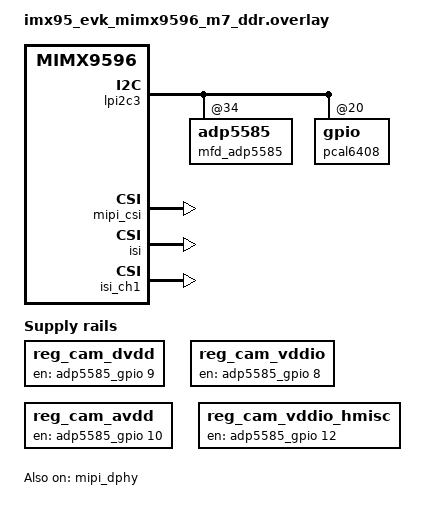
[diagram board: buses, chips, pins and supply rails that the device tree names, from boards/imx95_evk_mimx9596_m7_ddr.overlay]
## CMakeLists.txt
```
# SPDX-License-Identifier: Apache-2.0

cmake_minimum_required(VERSION 3.20.0)
find_package(Zephyr REQUIRED HINTS $ENV{ZEPHYR_BASE})
project(video_capture)

target_sources(app PRIVATE src/main.c)
```

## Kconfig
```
# Copyright (c) 2024 Espressif Systems (Shanghai) Co., Ltd.
# SPDX-License-Identifier: Apache-2.0

mainmenu "Video capture sample application"

menu "Video capture configuration"

config VIDEO_SOURCE_CROP_LEFT
	int "Crop area left value"
	default 0
	help
	   Left value of the crop area within the video source.

config VIDEO_SOURCE_CROP_TOP
	int "Crop area top value"
	default 0
	help
	   Top value of the crop area within the video source.

config VIDEO_SOURCE_CROP_WIDTH
	int "Crop area width value"
	default 0
	help
	   Width value of the crop area within the video source.
	   If set to 0, the crop is not applied.

config VIDEO_SOURCE_CROP_HEIGHT
	int "Crop area height value"
	default 0
	help
	   Height value of the crop area within the video source.
	   If set to 0, the crop is not applied.

config VIDEO_FRAME_HEIGHT
	int "Height of the video frame"
	default 0
	help
	  Height of the video frame. If set to 0, the default height is used.

config VIDEO_FRAME_WIDTH
	int "Width of the video frame"
	default 0
	help
	  Width of the video frame. If set to 0, the default width is used.

config VIDEO_PIXEL_FORMAT
	string "Pixel format of the video frame"
	help
	  Pixel format of the video frame. If not set, the default pixel format is used.

config VIDEO_CTRL_HFLIP
	bool "Mirror the video frame horizontally"
	help
	  If set, mirror the video frame horizontally

config VIDEO_CTRL_VFLIP
	bool "Mirror the video frame vertically"
	help
	  If set, mirror the video frame vertically

config VIDEO_SHELL_AND_CAPTURE
	bool "Capture video even if the video shell is enabled"
	depends on VIDEO_SHELL
	default n
	help
	  If set, the video capture is enabled even if the video shell is also enabled.

config VIDEO_CAM_NUM_BUFS
	int "Number of video buffers used for the camera"
	default 2
	help
	  Number of buffers in the video buffer pool used for the camera device.
	  The rest of the buffer pool will be used for other purposes such as transformation.

choice VIDEO_TRANSFORM
	prompt "Video transform implementation"
	bool
	help
	  The captured frame will go through m2m transforms defined in a separate .c file.
	  The implementation could include "transform.h" which provides helper functions
	  for setting up and executing the transformation.

config VIDEO_TRANSFORM_NXP_JPEGDEC
	bool "Use NXP JPEG decoder for video transform"
	depends on VIDEO_MCUX_JPEGDEC
	help
	  Use NXP JPEG decoder to decompress JPEG frames

config VIDEO_TRANSFORM_NXP_PNGDEC
	bool "Use NXP PNG decoder for video transform"
	depends on VIDEO_MCUX_PNGDEC
	help
	  Use NXP PNG decoder to decompress PNG frames

endchoice

if VIDEO_MCUX_JPEGDEC
rsource "boards/Kconfig.nxp_jpegdec"
endif

endmenu

source "Kconfig.zephyr"
```

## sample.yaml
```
sample:
  name: Video capture
tests:
  sample.drivers.video.capture:
    tags:
      - video
      - shield
      - samples
    extra_args:
      - platform:mimxrt1064_evk/mimxrt1064:SHIELD="dvp_fpc24_mt9m114;rk043fn66hs_ctg"
      - platform:mimxrt1170_evk/mimxrt1176/cm7:SHIELD="nxp_btb44_ov5640;rk055hdmipi4ma0"
      - platform:mimxrt1170_evk@B/mimxrt1176/cm7:SHIELD="nxp_btb44_ov5640;rk055hdmipi4ma0"
      - platform:frdm_mcxn947/mcxn947/cpu0:SHIELD="dvp_20pin_ov7670;lcd_par_s035_8080"
      - platform:frdm_mcxn236/mcxn236:SHIELD="dvp_20pin_ov7670;lcd_par_s035_8080"
      - platform:stm32h7b3i_dk:SHIELD="st_b_cams_omv_mb1683"
      - platform:ek_ra8d1/r7fa8d1bhecbd:SHIELD="dvp_20pin_ov7670;rtkmipilcdb00000be"
      - platform:mimxrt700_evk/mimxrt798s/cm33_cpu0:SHIELD="dvp_20pin_ov7670;rk055hdmipi4ma0"
    extra_configs:
      - CONFIG_FPU=y
    harness: console
    harness_config:
      fixture: fixture_camera
      type: multi_line
      ordered: true
      regex:
        - "Got frame \\d+"
        - "size: \\d+;"
        - "timestamp \\d+"
    platform_allow:
      - arduino_nicla_vision/stm32h747xx/m7
      - mimxrt1064_evk/mimxrt1064
      - mimxrt1170_evk/mimxrt1176/cm7
      - mimxrt1170_evk@B/mimxrt1176/cm7
      - frdm_mcxn947/mcxn947/cpu0
      - frdm_mcxn236/mcxn236
      - mm_swiftio
      - esp32s3_eye/esp32s3/procpu
      - stm32h7b3i_dk
      - ek_ra8d1/r7fa8d1bhecbd
      - mimxrt700_evk/mimxrt798s/cm33_cpu0
    depends_on: video
    integration_platforms:
      - mimxrt1064_evk/mimxrt1064
      - mimxrt1170_evk/mimxrt1176/cm7
  sample.drivers.video.capture.shell:
    tags:
      - video
      - samples
      - shell
    extra_configs:
      - CONFIG_VIDEO_SHELL=y
      - CONFIG_FPU=y
      - CONFIG_DISPLAY=n
    extra_args:
      - platform:native_sim/native/64:SNIPPET="video-sw-generator"
    harness: console
    harness_config:
      type: one_line
      regex:
        - "Letting the user control the device with the video shell"
    platform_allow:
      - native_sim/native/64
    integration_platforms:
      - native_sim/native/64
```

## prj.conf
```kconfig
CONFIG_VIDEO=y
CONFIG_SHELL=y
CONFIG_DEVICE_SHELL=y
CONFIG_PRINTK=y
CONFIG_LOG=y
CONFIG_DISPLAY=y
CONFIG_REQUIRES_FLOAT_PRINTF=y
CONFIG_LOG_MODE_DEFERRED=y
```

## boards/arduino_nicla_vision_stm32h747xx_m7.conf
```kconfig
CONFIG_VIDEO_BUFFER_POOL_HEAP_SIZE=320000
CONFIG_VIDEO_BUFFER_POOL_NUM_MAX=2
CONFIG_DMA=y

CONFIG_MAIN_STACK_SIZE=4096

CONFIG_SERIAL=y
CONFIG_CONSOLE=y
CONFIG_UART_CONSOLE=y
CONFIG_UART_LINE_CTRL=y
```

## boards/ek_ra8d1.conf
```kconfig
CONFIG_VIDEO_FRAME_WIDTH=320
CONFIG_VIDEO_FRAME_HEIGHT=240
CONFIG_VIDEO_BUFFER_POOL_SZ_MAX=155000
CONFIG_VIDEO_BUFFER_POOL_NUM_MAX=2
CONFIG_VIDEO_BUFFER_POOL_HEAP_SIZE=310000
```

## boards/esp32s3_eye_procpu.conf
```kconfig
CONFIG_VIDEO_BUFFER_POOL_SZ_MAX=115200
CONFIG_VIDEO_BUFFER_POOL_HEAP_SIZE=230400
CONFIG_VIDEO_BUFFER_POOL_NUM_MAX=2
CONFIG_ESP_SPIRAM=y
CONFIG_SPIRAM_MODE_OCT=y
CONFIG_VIDEO_BUFFER_POOL_ALIGN=32
CONFIG_DMA_ESP32_MAX_DESCRIPTOR_NUM=64
CONFIG_VIDEO_BUFFER_USE_SHARED_MULTI_HEAP=y
CONFIG_VIDEO_BUFFER_SMH_ATTRIBUTE=2
CONFIG_VIDEO_FRAME_HEIGHT=240
CONFIG_VIDEO_FRAME_WIDTH=240
CONFIG_VIDEO_PIXEL_FORMAT="RGBP"
CONFIG_VIDEO_CTRL_VFLIP=y
```

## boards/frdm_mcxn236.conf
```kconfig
CONFIG_VIDEO_BUFFER_POOL_HEAP_SIZE=80000
CONFIG_VIDEO_BUFFER_POOL_SZ_MAX=40000
CONFIG_VIDEO_FRAME_WIDTH=320
CONFIG_VIDEO_FRAME_HEIGHT=240
```

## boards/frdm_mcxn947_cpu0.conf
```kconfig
CONFIG_VIDEO_BUFFER_POOL_HEAP_SIZE=80000
CONFIG_VIDEO_BUFFER_POOL_NUM_MAX=2
```

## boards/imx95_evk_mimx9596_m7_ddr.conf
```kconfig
CONFIG_VIDEO_BUFFER_POOL_NUM_MAX=4
CONFIG_VIDEO_BUFFER_POOL_HEAP_SIZE=16000000
CONFIG_PM_DEVICE=y
CONFIG_VIDEO_CAM_NUM_BUFS=3
```

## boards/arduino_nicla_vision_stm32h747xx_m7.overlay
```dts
/*
 * Copyright 2024 Felipe Neves
 *
 * SPDX-License-Identifier: Apache-2.0
 */
/ {
	chosen {
		zephyr,console = &cdc_acm_uart0;
		zephyr,shell-uart = &cdc_acm_uart0;
	};
};

zephyr_udc0: &usbotg_hs {
	status = "okay";
	cdc_acm_uart0: cdc_acm_uart0 {
		compatible = "zephyr,cdc-acm-uart";
	};
};
```

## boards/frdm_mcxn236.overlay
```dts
/*
 * Copyright 2025 NXP
 *
 * SPDX-License-Identifier: Apache-2.0
 */

/ {
	chosen {
		/* Switch to flexcomm2_lpuart2(P4_2,P4_3), since default console
		 * pins are duplicated with camera header pins
		 */
		zephyr,console = &flexcomm2_lpuart2;
		zephyr,shell-uart = &flexcomm2_lpuart2;
	};
};
```

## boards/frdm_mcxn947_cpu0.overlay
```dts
/*
 * Copyright 2024 NXP
 *
 * SPDX-License-Identifier: Apache-2.0
 */

/{
	chosen {
		zephyr,camera = &video_sdma;
	};
};
```

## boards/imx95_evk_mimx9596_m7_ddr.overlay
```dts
/*
 * Copyright 2026 NXP
 * SPDX-License-Identifier: Apache-2.0
 */

#include <zephyr/dt-bindings/gpio/gpio.h>
#include <zephyr/dt-bindings/video/video-interfaces.h>

/ {
	chosen {
		/* Use ISI channel1 as capture device for this sample */
		zephyr,camera = &isi_ch1;
	};

	/* Camera power regulators (controlled via ADP5585 GPIO expander) */
	reg_cam_dvdd: regulator-cam-dvdd {
		compatible = "regulator-fixed";
		regulator-name = "CAM_DVDD_1V2";
		enable-gpios = <&adp5585_gpio 9 GPIO_ACTIVE_HIGH>;
		status = "okay";
	};

	reg_cam_vddio: regulator-cam-vddio {
		compatible = "regulator-fixed";
		regulator-name = "CAM_VDDIO_1V8";
		enable-gpios = <&adp5585_gpio 8 GPIO_ACTIVE_HIGH>;
		status = "okay";
	};

	reg_cam_avdd: regulator-cam-avdd {
		compatible = "regulator-fixed";
		regulator-name = "CAM_AVDD_2V8";
		enable-gpios = <&adp5585_gpio 10 GPIO_ACTIVE_HIGH>;
		status = "okay";
	};

	reg_cam_vddio_hmisc: regulator-cam-vddio-hmisc {
		compatible = "regulator-fixed";
		regulator-name = "CAM_VDDIO_HMISC_1V8";
		enable-gpios = <&adp5585_gpio 12 GPIO_ACTIVE_HIGH>;
		status = "okay";
	};
};

/*
 * Camera HW on i.MX95 EVK lives on LPI2C3.
 * The AP1302 device node itself is provided by the camera shield.
 */
&lpi2c3 {
	status = "okay";
	pinctrl-0 = <&lpi2c3_default>;
	pinctrl-names = "default";

	mfd_adp5585: adp5585@34 {
		status = "okay";

		adp5585_gpio: adp5585_gpio {
			status = "okay";
		};
	};

	pcal6408: gpio@20 {
		status = "okay";
	};
};

/* Apply board-specific wiring and resources to the shield-provided AP1302 */
&ap1302 {
	power-supplies = <&reg_cam_dvdd>,
			 <&reg_cam_vddio>,
			 <&reg_cam_avdd>,
			 <&reg_cam_vddio_hmisc>;
	clock-names = "mclk";
	clocks = <&scmi_clk IMX95_CLK_CCMCKO1>;
	pinctrl-0 = <&cmmclk1_default>;
	pinctrl-names = "default";
};

&mipi_dphy {
	status = "okay";
};

&mipi_csi {
	data-lanes = <4>;
	status = "okay";

	ports {
		#address-cells = <1>;
		#size-cells = <0>;

		port@0 {
			reg = <0>;
			csi_ep_in: endpoint {
				remote-endpoint-label = "ap1302_ep_out";
				bus-type = <VIDEO_BUS_TYPE_CSI2_DPHY>;
				data-lanes = <1 2 3 4>;
			};
		};

		port@1 {
			reg = <1>;
			csi2rx_ep_out: endpoint {
				remote-endpoint-label = "isi_1_ep_in";
			};
		};
	};
};

&isi {
	status = "okay";
};

&isi_ch1 {
	status = "okay";

	ports {
		#address-cells = <1>;
		#size-cells = <0>;

		port@0 {
			reg = <0>;
			isi_1_ep_in: endpoint {
				remote-endpoint-label = "csi2rx_ep_out";
			};
		};
	};
};
```

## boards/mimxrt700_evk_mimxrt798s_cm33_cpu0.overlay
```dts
/*
 * Copyright 2026 NXP
 *
 * SPDX-License-Identifier: Apache-2.0
 *
 */

/ {
	chosen {
		zephyr,videodec = &pngdec;
	};
};
```

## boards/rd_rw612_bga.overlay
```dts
/*
 * Copyright 2025 NXP
 *
 * SPDX-License-Identifier: Apache-2.0
 */

/ {
	uvc_host: uvc_host {
		compatible = "zephyr,uvc-host";
	};
};
```

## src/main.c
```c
/*
 * Copyright (c) 2019 Linaro Limited
 * Copyright 2025-2026 NXP
 *
 * SPDX-License-Identifier: Apache-2.0
 */

#include <zephyr/kernel.h>
#include <zephyr/device.h>

#include <zephyr/drivers/display.h>
#include <zephyr/drivers/video.h>
#include <zephyr/drivers/video-controls.h>

#include <zephyr/logging/log.h>
LOG_MODULE_REGISTER(main, CONFIG_LOG_DEFAULT_LEVEL);

/*
 * Include transform.h unconditionally to ensure it's compiled and checked by CI,
 * even though the functions in this header are not used here at all.
 * This prevents silent breakage when APIs change.
 */
#include "transform.h"

#if !DT_HAS_CHOSEN(zephyr_camera)
#error No camera chosen in devicetree. Missing "--shield" or "--snippet video-sw-generator" flag?
#endif

/* The default transform implementation is a pass-through when no transform device is available */
int __weak app_setup_video_transform(const struct device *const transform_dev,
				     struct video_format *const in_fmt,
				     struct video_format *const out_fmt,
				     struct video_buffer **out_buf)
{
	*out_fmt = *in_fmt;

	return 0;
}

int __weak app_transform_frame(const struct device *const transform_dev,
			       struct video_buffer *in_buf, struct video_buffer **out_buf)
{
	*out_buf = in_buf;

	return 0;
}

static inline int app_setup_display(const struct device *const display_dev, const uint32_t pixfmt)
{
	struct display_capabilities capabilities;
	int ret = 0;

	LOG_INF("Display device: %s", display_dev->name);

	if (!device_is_ready(display_dev)) {
		LOG_ERR("%s: display device not ready.", display_dev->name);
		return -ENOSYS;
	}

	display_get_capabilities(display_dev, &capabilities);

	LOG_INF("- Capabilities:");
	LOG_INF("  x_resolution = %u, y_resolution = %u, supported_pixel_formats = %u"
		"  current_pixel_format = %u, current_orientation = %u",
		capabilities.x_resolution, capabilities.y_resolution,
		capabilities.supported_pixel_formats, capabilities.current_pixel_format,
		capabilities.current_orientation);

	/* Set display pixel format to match the one in use by the camera */
	switch (pixfmt) {
	case VIDEO_PIX_FMT_RGB565:
		if (capabilities.current_pixel_format != PIXEL_FORMAT_RGB_565) {
			ret = display_set_pixel_format(display_dev, PIXEL_FORMAT_RGB_565);
		}
		break;
	case VIDEO_PIX_FMT_BGRX32:
		if (capabilities.current_pixel_format != PIXEL_FORMAT_XRGB_8888) {
			ret = display_set_pixel_format(display_dev, PIXEL_FORMAT_XRGB_8888);
			if (ret < 0) {
				/* If failed with PIXEL_FORMAT_XRGB_8888, PIXEL_FORMAT_ARGB_8888 is
				 * still applicable
				 */
				ret = display_set_pixel_format(display_dev, PIXEL_FORMAT_ARGB_8888);
			}
		}
		break;
	case VIDEO_PIX_FMT_RGBA32:
		if (capabilities.current_pixel_format != PIXEL_FORMAT_ABGR_8888) {
			ret = display_set_pixel_format(display_dev, PIXEL_FORMAT_ABGR_8888);
		}
		break;
	default:
		LOG_ERR("Display pixel format not supported by this sample");
		return -ENOTSUP;
	}
	if (ret < 0) {
		LOG_ERR("Unable to set display format");
		return ret;
	}

	/* Turn off blanking if driver supports it */
	ret = display_blanking_off(display_dev);
	if (ret == -ENOSYS) {
		LOG_DBG("Display blanking off not available");
		ret = 0;
	}

	return ret;
}

static int app_display_frame(const struct device *const display_dev,
			     const struct video_buffer *const vbuf,
			     const struct video_format *const fmt)
{
	struct display_buffer_descriptor buf_desc = {
		.buf_size = vbuf->bytesused,
		.width = fmt->width,
		.pitch = buf_desc.width,
		.height = vbuf->bytesused / fmt->pitch,
	};

	return display_write(display_dev, 0, vbuf->line_offset, &buf_desc, vbuf->buffer);
}

static int app_setup_video_selection(const struct device *const camera_dev,
				     const struct video_format *const fmt)
{
	struct video_selection sel = {
		.type = VIDEO_BUF_TYPE_OUTPUT,
	};
	int ret;

	/* Set the crop setting only if configured */
	if (CONFIG_VIDEO_SOURCE_CROP_WIDTH > 0) {
		sel.target = VIDEO_SEL_TGT_CROP;
		sel.rect.left = CONFIG_VIDEO_SOURCE_CROP_LEFT;
		sel.rect.top = CONFIG_VIDEO_SOURCE_CROP_TOP;
		sel.rect.width = CONFIG_VIDEO_SOURCE_CROP_WIDTH;
		sel.rect.height = CONFIG_VIDEO_SOURCE_CROP_HEIGHT;

		ret = video_set_selection(camera_dev, &sel);
		if (ret < 0) {
			LOG_ERR("Unable to set selection crop");
			return ret;
		}

		LOG_INF("Crop window set to (%u,%u)/%ux%u",
			sel.rect.left, sel.rect.top, sel.rect.width, sel.rect.height);
	}

	return 0;
}

static int app_query_video_info(const struct device *const camera_dev,
				struct video_caps *const caps,
				struct video_format *const fmt)
{
	int ret;

	LOG_INF("Camera device: %s", camera_dev->name);

	if (!device_is_ready(camera_dev)) {
		LOG_ERR("%s: camera device is not ready", camera_dev->name);
		return -ENOSYS;
	}

	/* Get capabilities */
	ret = video_get_caps(camera_dev, caps);
	if (ret < 0) {
		LOG_ERR("Unable to retrieve video capabilities");
		return ret;
	}

	LOG_INF("- Capabilities:");
	for (int i = 0; caps->format_caps[i].pixelformat; i++) {
		const struct video_format_cap *fcap = &caps->format_caps[i];

		LOG_INF("  %s width [%u; %u; %u] height [%u; %u; %u]",
			VIDEO_FOURCC_TO_STR(fcap->pixelformat),
			fcap->width_min, fcap->width_max, fcap->width_step,
			fcap->height_min, fcap->height_max, fcap->height_step);
	}

	/* Get default/native format */
	ret = video_get_format(camera_dev, fmt);
	if (ret < 0) {
		LOG_ERR("Unable to retrieve video format");
	}

	/* Adjust video format according to the configuration */
	if (CONFIG_VIDEO_FRAME_HEIGHT > 0) {
		fmt->height = CONFIG_VIDEO_FRAME_HEIGHT;
	}
	if (CONFIG_VIDEO_FRAME_WIDTH > 0) {
		fmt->width = CONFIG_VIDEO_FRAME_WIDTH;
	}
	if (strcmp(CONFIG_VIDEO_PIXEL_FORMAT, "") != 0) {
		fmt->pixelformat = VIDEO_FOURCC_FROM_STR(CONFIG_VIDEO_PIXEL_FORMAT);
	}

	return 0;
}

static int app_setup_video_format(const struct device *const camera_dev,
				  struct video_format *const fmt)
{
	int ret;

	LOG_INF("- Video format: %s %ux%u",
		VIDEO_FOURCC_TO_STR(fmt->pixelformat), fmt->width, fmt->height);

	ret = video_set_compose_format(camera_dev, fmt);
	if (ret < 0) {
		LOG_ERR("Unable to set format");
		return ret;
	}

	return 0;
}

static int app_setup_video_frmival(const struct device *const camera_dev,
				   struct video_format *const fmt)
{
	struct video_frmival frmival = {};
	struct video_frmival_enum fie = {
		.format = fmt,
	};
	int ret;

	LOG_INF("- Supported frame intervals for the default format:");

	while (video_enum_frmival(camera_dev, &fie) == 0) {
		if (fie.type == VIDEO_FRMIVAL_TYPE_DISCRETE) {
			LOG_INF("   %u/%u", fie.discrete.numerator, fie.discrete.denominator);
		} else {
			LOG_INF("   [min = %u/%u; max = %u/%u; step = %u/%u]",
				fie.stepwise.min.numerator, fie.stepwise.min.denominator,
				fie.stepwise.max.numerator, fie.stepwise.max.denominator,
				fie.stepwise.step.numerator, fie.stepwise.step.denominator);
		}
		fie.index++;
	}

	ret = video_get_frmival(camera_dev, &frmival);
	if (ret == -ENOTSUP || ret == -ENOSYS) {
		LOG_WRN("The video source does not support frame rate control");
	} else if (ret < 0) {
		LOG_ERR("Error while getting the frame interval");
		return ret;
	} else if (ret == 0) {
		LOG_INF("- Default frame rate : %f fps",
			1.0 * frmival.denominator / frmival.numerator);
	}

	return 0;
}

static int app_setup_video_controls(const struct device *const camera_dev)
{
	int ret;

	/* Get supported controls */
	LOG_INF("- Supported controls:");
	const struct device *last_dev = NULL;
	struct video_ctrl_query cq = {.dev = camera_dev, .id = VIDEO_CTRL_FLAG_NEXT_CTRL};

	while (video_query_ctrl(&cq) == 0) {
		if (cq.dev != last_dev) {
			last_dev = cq.dev;
			LOG_INF("\t\tdevice: %s", cq.dev->name);
		}
		video_print_ctrl(&cq);
		cq.id |= VIDEO_CTRL_FLAG_NEXT_CTRL;
	}

	/* Set controls */
	struct video_control ctrl = {.id = VIDEO_CID_HFLIP, .val = 1};

	if (IS_ENABLED(CONFIG_VIDEO_CTRL_HFLIP)) {
		ret = video_set_ctrl(camera_dev, &ctrl);
		if (ret < 0) {
			LOG_ERR("Failed to set horizontal flip");
			return ret;
		}
	}

	if (IS_ENABLED(CONFIG_VIDEO_CTRL_VFLIP)) {
		ctrl.id = VIDEO_CID_VFLIP;
		ret = video_set_ctrl(camera_dev, &ctrl);
		if (ret < 0) {
			LOG_ERR("Failed to set vertical flip");
			return ret;
		}
	}

	if (IS_ENABLED(CONFIG_TEST)) {
		ctrl.id = VIDEO_CID_TEST_PATTERN;
		ret = video_set_ctrl(camera_dev, &ctrl);
		if (ret < 0 && ret != -ENOTSUP) {
			LOG_WRN("Failed to set the test pattern");
		}
	}

	return 0;
}

static int app_setup_video_buffers(const struct device *const camera_dev,
				   struct video_caps *const caps,
				   struct video_format *const fmt)
{
	int ret;

	/* Alloc video buffers and enqueue for capture */
	if (caps->min_vbuf_count > CONFIG_VIDEO_CAM_NUM_BUFS) {
		LOG_ERR("Not enough buffers to start streaming");
		return -EINVAL;
	}

	for (uint8_t i = 0; i < CONFIG_VIDEO_CAM_NUM_BUFS; i++) {
		struct video_buffer *vbuf;

		/*
		 * For some hardwares, such as the PxP used on i.MX RT1170 to do image rotation,
		 * buffer alignment is needed in order to achieve the best performance
		 */
		vbuf = video_buffer_aligned_alloc(fmt->size, CONFIG_VIDEO_BUFFER_POOL_ALIGN,
						  K_NO_WAIT);
		if (vbuf == NULL) {
			LOG_ERR("Unable to alloc video buffer");
			return -ENOMEM;
		}

		vbuf->type = VIDEO_BUF_TYPE_OUTPUT;

		ret = video_enqueue(camera_dev, vbuf);
		if (ret < 0) {
			LOG_ERR("Failed to enqueue video buffer");
			return ret;
		}
	}

	return 0;
}

int main(void)
{
	const struct device *const camera_dev = DEVICE_DT_GET(DT_CHOSEN(zephyr_camera));
	const struct device *const display_dev = DEVICE_DT_GET_OR_NULL(DT_CHOSEN(zephyr_display));
	const struct device *transform_dev = NULL;
	struct video_buffer *camera_vbuf = &(struct video_buffer){};
	struct video_buffer *transformed_vbuf = &(struct video_buffer){};
	struct video_format camera_fmt = {
		.type = VIDEO_BUF_TYPE_OUTPUT,
	};
	struct video_format transformed_fmt = {
		.type = VIDEO_BUF_TYPE_OUTPUT,
	};
	struct video_caps caps = {
		.type = VIDEO_BUF_TYPE_OUTPUT,
	};
	unsigned int frame = 0;
	uint32_t last_ts = 0;
	int ret;

	/* When the video shell is enabled, do not run the capture loop unless requested */
	if (IS_ENABLED(CONFIG_VIDEO_SHELL) && !IS_ENABLED(CONFIG_VIDEO_SHELL_AND_CAPTURE)) {
		LOG_INF("Letting the user control the device with the video shell");
		return 0;
	}

	transform_dev = DEVICE_DT_GET_OR_NULL(DT_CHOSEN(zephyr_videotrans));
	if (transform_dev == NULL) {
		transform_dev = DEVICE_DT_GET_OR_NULL(DT_CHOSEN(zephyr_videodec));
	}

	ret = app_query_video_info(camera_dev, &caps, &camera_fmt);
	if (ret < 0) {
		goto err;
	}

	ret = app_setup_video_selection(camera_dev, &camera_fmt);
	if (ret < 0) {
		goto err;
	}

	ret = app_setup_video_format(camera_dev, &camera_fmt);
	if (ret < 0) {
		goto err;
	}

	ret = app_setup_video_frmival(camera_dev, &camera_fmt);
	if (ret < 0) {
		goto err;
	}

	ret = app_setup_video_controls(camera_dev);
	if (ret < 0) {
		goto err;
	}

	ret = app_setup_video_transform(transform_dev, &camera_fmt, &transformed_fmt,
					&transformed_vbuf);
	if (ret < 0) {
		LOG_ERR("Unable to setup video transform");
		goto err;
	}

	if (DT_HAS_CHOSEN(zephyr_display)) {
		ret = app_setup_display(display_dev, transformed_fmt.pixelformat);
		if (ret < 0) {
			goto err;
		}
	}

	ret = app_setup_video_buffers(camera_dev, &caps, &camera_fmt);
	if (ret < 0) {
		goto err;
	}

	ret = video_stream_start(camera_dev, VIDEO_BUF_TYPE_OUTPUT);
	if (ret < 0) {
		LOG_ERR("Unable to start capture (interface)");
		goto err;
	}

	LOG_INF("Capture started");

	camera_vbuf->type = VIDEO_BUF_TYPE_OUTPUT;
	while (1) {
		ret = video_dequeue(camera_dev, &camera_vbuf, K_FOREVER);
		if (ret < 0) {
			LOG_ERR("Unable to dequeue video buf");
			goto err;
		}

		LOG_INF("Got frame %u! size: %u; timestamp %u ms (delta %u ms)", frame++,
			camera_vbuf->bytesused, camera_vbuf->timestamp,
			camera_vbuf->timestamp - last_ts);
		last_ts = camera_vbuf->timestamp;

		ret = app_transform_frame(transform_dev, camera_vbuf, &transformed_vbuf);
		if (ret < 0) {
			LOG_ERR("Unable to transform video frame");
			goto err;
		}

		if (DT_HAS_CHOSEN(zephyr_display)) {
			ret = app_display_frame(display_dev, transformed_vbuf, &transformed_fmt);
			if (ret != 0) {
				LOG_WRN("Failed to display this frame");
			}
		}

		ret = video_enqueue(camera_dev, camera_vbuf);
		if (ret < 0) {
			LOG_ERR("Unable to requeue video buf");
			goto err;
		}
	}

err:
	LOG_ERR("Aborting sample");
	return 0;
}
```

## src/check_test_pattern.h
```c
/*
 * Copyright 2024 NXP
 *
 * SPDX-License-Identifier: Apache-2.0
 */

#ifndef TEST_PATTERN_CHECK_H_
#define TEST_PATTERN_CHECK_H_

#include <math.h>

#include <zephyr/drivers/video.h>

#define LAB_THRESHOLD 10.0

#define BARS_NUM   8
#define PIXELS_NUM 5

typedef struct {
	double L;
	double a;
	double b;
} CIELAB;

/*
 * This is measured on a real 8-colorbar pattern generated by an ov5640 camera sensor.
 * For other sensors, it can be slightly different. If it doesn't fit anymore, either
 * this array or the LAB_THRESHOLD can be modified.
 *
 * {White, Yellow, Cyan, Green, Magenta, Red, Blue, Black}
 */
static const CIELAB colorbars_target[] = {
	{100.0, 0.0053, -0.0104},     {97.1804, -21.2151, 91.3538}, {90.1352, -58.4675, 6.0570},
	{87.7630, -85.9469, 83.2128}, {56.6641, 95.0182, -66.9129}, {46.6937, 72.7494, 49.5801},
	{27.6487, 71.5662, -97.4712}, {1.3726, -2.8040, 2.0043}};

static inline CIELAB rgb888_to_lab(const uint8_t r, const uint8_t g, const uint8_t b)
{
	CIELAB lab;

	double r_lin = r / 255.0;
	double g_lin = g / 255.0;
	double b_lin = b / 255.0;

	r_lin = r_lin > 0.04045 ? pow((r_lin + 0.055) / 1.055, 2.4) : r_lin / 12.92;
	g_lin = g_lin > 0.04045 ? pow((g_lin + 0.055) / 1.055, 2.4) : g_lin / 12.92;
	b_lin = b_lin > 0.04045 ? pow((b_lin + 0.055) / 1.055, 2.4) : b_lin / 12.92;

	double x = r_lin * 0.4124 + g_lin * 0.3576 + b_lin * 0.1805;
	double y = r_lin * 0.2126 + g_lin * 0.7152 + b_lin * 0.0722;
	double z = r_lin * 0.0193 + g_lin * 0.1192 + b_lin * 0.9505;

	x /= 0.95047;
	z /= 1.08883;

	x = x > 0.008856 ? pow(x, 1.0 / 3.0) : (7.787 * x) + (16.0 / 116.0);
	y = y > 0.008856 ? pow(y, 1.0 / 3.0) : (7.787 * y) + (16.0 / 116.0);
	z = z > 0.008856 ? pow(z, 1.0 / 3.0) : (7.787 * z) + (16.0 / 116.0);

	lab.L = 116.0 * y - 16.0;
	lab.a = 500.0 * (x - y);
	lab.b = 200.0 * (y - z);

	return lab;
}

static inline CIELAB xrgb32_to_lab(const uint32_t color)
{
	uint8_t r = (color >> 16) & 0xFF;
	uint8_t g = (color >> 8) & 0xFF;
	uint8_t b = color & 0xFF;

	return rgb888_to_lab(r, g, b);
}

static inline CIELAB rgb565_to_lab(const uint16_t color)
{
	uint8_t r5 = (color >> 11) & 0x1F;
	uint8_t g6 = (color >> 5) & 0x3F;
	uint8_t b5 = color & 0x1F;

	/* Convert RGB565 to RGB888 */
	uint8_t r = (r5 * 255) / 31;
	uint8_t g = (g6 * 255) / 63;
	uint8_t b = (b5 * 255) / 31;

	return rgb888_to_lab(r, g, b);
}

static inline void sum_lab(CIELAB *sum, const CIELAB lab)
{
	sum->L += lab.L;
	sum->a += lab.a;
	sum->b += lab.b;
}

static inline void average_lab(CIELAB *lab, const uint32_t count)
{
	if (count > 0) {
		lab->L /= count;
		lab->a /= count;
		lab->b /= count;
	}
}

static inline double deltaE(const CIELAB lab1, const CIELAB lab2)
{
	return sqrt(pow(lab1.L - lab2.L, 2) + pow(lab1.a - lab2.a, 2) + pow(lab1.b - lab2.b, 2));
}

/*
 * As color values may vary near the boundary of each bar and also, for computational
 * efficiency, check only a small number of pixels (PIXELS_NUM) in the middle of each bar.
 */
static inline bool is_colorbar_ok(const uint8_t *const buf, const struct video_format fmt)
{
	int i;
	int bw = fmt.width / BARS_NUM;
	CIELAB colorbars[BARS_NUM] = {0};

	for (int h = 0; h < fmt.height; h++) {
		for (i = 0; i < BARS_NUM; i++) {
			if (fmt.pixelformat == VIDEO_PIX_FMT_XRGB32) {
				uint32_t *pixel =
					(uint32_t *)&buf[4 * (h * fmt.width + bw / 2 + i * bw)];

				for (int j = -PIXELS_NUM / 2; j <= PIXELS_NUM / 2; j++) {
					sum_lab(&colorbars[i], xrgb32_to_lab(*(pixel + j)));
				}
			} else if (fmt.pixelformat == VIDEO_PIX_FMT_RGB565) {
				uint16_t *pixel =
					(uint16_t *)&buf[2 * (h * fmt.width + bw / 2 + i * bw)];

				for (int j = -PIXELS_NUM / 2; j <= PIXELS_NUM / 2; j++) {
					sum_lab(&colorbars[i], rgb565_to_lab(*(pixel + j)));
				}
			} else {
				printk("Format %d is not supported", fmt.pixelformat);
				return false;
			}
		}
	}

	for (i = 0; i < BARS_NUM; i++) {
		average_lab(&colorbars[i], PIXELS_NUM * fmt.height);
		if (deltaE(colorbars[i], colorbars_target[i]) > LAB_THRESHOLD) {
			return false;
		}
	}

	return true;
}

#endif /* TEST_PATTERN_CHECK_H_ */
```

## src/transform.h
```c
/*
 * Copyright 2026 NXP
 *
 * SPDX-License-Identifier: Apache-2.0
 */

#include <zephyr/device.h>
#include <zephyr/drivers/video.h>
#include <zephyr/logging/log.h>

static inline int setup_video_transform(const struct device *const transform_dev,
					struct video_format *const in_fmt,
					struct video_format *const out_fmt,
					struct video_buffer **out_buf)
{
	int ret;

	/* Set input and output formats */
	in_fmt->type = VIDEO_BUF_TYPE_INPUT;
	ret = video_set_format(transform_dev, in_fmt);
	if (ret < 0) {
		LOG_ERROR("Unable to set input format");
		return ret;
	}

	ret = video_set_format(transform_dev, out_fmt);
	if (ret < 0) {
		LOG_ERROR("Unable to set output format");
		return ret;
	}

	/* Allocate a buffer for output queue */
	*out_buf = video_buffer_aligned_alloc(out_fmt->size,
					      CONFIG_VIDEO_BUFFER_POOL_ALIGN, K_NO_WAIT);
	if (*out_buf == NULL) {
		LOG_ERROR("Unable to allocate output video buffer");
		return -ENOMEM;
	}

	return 0;
}

static inline int transform_frame(const struct device *const transform_dev,
				  struct video_buffer *in_buf, struct video_buffer **out_buf)
{
	int ret;
	/* Store the input buffer type to recover later */
	enum video_buf_type in_buf_type = in_buf->type;
	static bool started;

	in_buf->type = VIDEO_BUF_TYPE_INPUT;
	ret = video_enqueue(transform_dev, in_buf);
	if (ret < 0) {
		LOG_ERROR("Unable to enqueue input buffer");
		return ret;
	}

	(*out_buf)->type = VIDEO_BUF_TYPE_OUTPUT;
	ret = video_enqueue(transform_dev, *out_buf);
	if (ret < 0) {
		LOG_ERROR("Unable to enqueue output buffer");
		return ret;
	}

	if (!started) {
		ret = video_stream_start(transform_dev, VIDEO_BUF_TYPE_INPUT);
		if (ret < 0) {
			LOG_ERROR("Unable to start the transform input");
			return ret;
		}

		ret = video_stream_start(transform_dev, VIDEO_BUF_TYPE_OUTPUT);
		if (ret < 0) {
			LOG_ERROR("Unable to start the transform output");
			return ret;
		}

		started = true;
	}

	ret = video_dequeue(transform_dev, &in_buf, K_FOREVER);
	if (ret < 0) {
		LOG_ERROR("Unable to dequeue input buffer");
		return ret;
	}

	ret = video_dequeue(transform_dev, out_buf, K_FOREVER);
	if (ret < 0) {
		LOG_ERROR("Unable to dequeue output buffer");
		return ret;
	}

	/* Keep the input buffer intact */
	in_buf->type = in_buf_type;

	return 0;
}
```

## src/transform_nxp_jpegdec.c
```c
/*
 * Copyright 2026 NXP
 *
 * SPDX-License-Identifier: Apache-2.0
 */

#include <zephyr/kernel.h>
#include <zephyr/device.h>
#include <zephyr/drivers/video.h>
#include <zephyr/logging/log.h>

LOG_MODULE_REGISTER(transform_nxp_jpegdec, CONFIG_LOG_DEFAULT_LEVEL);

#include "transform.h"

#ifdef CONFIG_VIDEO_NXP_JPEGDEC_CSC
static void convert_yuv420_to_rgb565(uint16_t width, uint16_t height, uint32_t yAddr,
				     uint32_t uvAddr, uint32_t rgbAddr)
{
	uint16_t *rgb = (void *)rgbAddr;
	int16_t r, g, b;
	uint8_t R, G, B, y, u, v;

	uint16_t i, j;

	for (i = 0U; i < height; i++) {
		for (j = 0U; j < width; j++) {
			y = *(((uint8_t *)yAddr) + width * i + j);
			u = *(((uint8_t *)uvAddr) + width * (i / 2) + j - (j % 2));
			v = *(((uint8_t *)uvAddr) + width * (i / 2) + j + 1 - (j % 2));
			r = y + 1402 * (v - 128) / 1000;
			g = y - (344 * (u - 128) + 714 * (v - 128)) / 1000;
			b = y + 1772 * (u - 128) / 1000;
			R = CLAMP(r, 0, 255);
			G = CLAMP(g, 0, 255);
			B = CLAMP(b, 0, 255);
			*rgb++ = (uint16_t)((((uint16_t)R & 0xF8) << 8U) |
					    (((uint16_t)G & 0xFC) << 3U) |
					    (((uint16_t)B & 0xF8) >> 3U));
		}
	}
}
#endif

int app_setup_video_transform(const struct device *const transform_dev,
	struct video_format *const in_fmt,
	struct video_format *const out_fmt,
	struct video_buffer **out_buf)
{
	out_fmt->pixelformat = VIDEO_PIX_FMT_NV12; /* Decoder output format shall be NV12 */
	out_fmt->width = CONFIG_VIDEO_FRAME_WIDTH;
	out_fmt->height = CONFIG_VIDEO_FRAME_HEIGHT;
	out_fmt->pitch = out_fmt->width;
	out_fmt->size = out_fmt->width * out_fmt->height * 2U;

	int ret = setup_video_transform(transform_dev, in_fmt, out_fmt, out_buf);

#ifdef CONFIG_VIDEO_NXP_JPEGDEC_CSC
	if (ret < 0) {
		return ret;
	}

	/* The transfromed format shall be RGB565 for display panel to show. */
	out_fmt->pixelformat = VIDEO_PIX_FMT_RGB565;
	out_fmt->pitch = out_fmt->width * 2U;

	return 0;
#else
	return ret;
#endif
}

int app_transform_frame(const struct device *const transform_dev, struct video_buffer *in_buf,
			struct video_buffer **out_buf)
{
	int ret = transform_frame(transform_dev, in_buf, out_buf);

#ifdef CONFIG_VIDEO_NXP_JPEGDEC_CSC
	if (ret < 0) {
		return ret;
	}

	/* Change the decoded NV12 2-p pixel to RGB565 for display to show. */
	uint8_t *rgb565 = k_aligned_alloc(CONFIG_VIDEO_BUFFER_POOL_ALIGN, (*out_buf)->bytesused);

	convert_yuv420_to_rgb565(CONFIG_VIDEO_FRAME_WIDTH, CONFIG_VIDEO_FRAME_HEIGHT,
				 (uint32_t)(*out_buf)->buffer,
				 (uint32_t)((*out_buf)->buffer +
					    CONFIG_VIDEO_FRAME_WIDTH * CONFIG_VIDEO_FRAME_HEIGHT),
				 (uint32_t)rgb565);

	memcpy((*out_buf)->buffer, rgb565,
	       CONFIG_VIDEO_FRAME_WIDTH * CONFIG_VIDEO_FRAME_HEIGHT * 2U);

	return 0;
#else
	return ret;
#endif
}
```

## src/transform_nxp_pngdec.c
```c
/*
 * Copyright 2026 NXP
 *
 * SPDX-License-Identifier: Apache-2.0
 */

#include <zephyr/kernel.h>
#include <zephyr/device.h>
#include <zephyr/drivers/video.h>
#include <zephyr/logging/log.h>

LOG_MODULE_REGISTER(transform_nxp_pngdec, CONFIG_LOG_DEFAULT_LEVEL);

#include "transform.h"
int app_setup_video_transform(const struct device *const transform_dev,
	struct video_format *const in_fmt,
	struct video_format *const out_fmt,
	struct video_buffer **out_buf)
{
	out_fmt->pixelformat = VIDEO_PIX_FMT_ABGR32; /* Decoder output format shall be ABGR8888 */
	out_fmt->width = CONFIG_VIDEO_FRAME_WIDTH;
	out_fmt->height = CONFIG_VIDEO_FRAME_HEIGHT;
	out_fmt->pitch = out_fmt->width * 4;
	out_fmt->size = out_fmt->pitch * out_fmt->height;

	return setup_video_transform(transform_dev, in_fmt, out_fmt, out_buf);
}

int app_transform_frame(const struct device *const transform_dev, struct video_buffer *in_buf,
			struct video_buffer **out_buf)
{
	return transform_frame(transform_dev, in_buf, out_buf);
}
```

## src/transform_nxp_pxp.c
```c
/*
 * Copyright 2026 NXP
 *
 * SPDX-License-Identifier: Apache-2.0
 */

#include <zephyr/device.h>
#include <zephyr/drivers/video.h>
#include <zephyr/drivers/video-controls.h>

#include "transform.h"

int app_setup_video_transform(const struct device *const transform_dev, struct video_format in_fmt,
			      struct video_format *const out_fmt, struct video_buffer **out_buf)
{
	struct video_control ctrl = {.id = VIDEO_CID_ROTATE, .val = 90};

	/* Set controls */
	video_set_ctrl(transform_dev, &ctrl);

	*out_fmt = in_fmt;
	out_fmt->width = in_fmt.height;
	out_fmt->height = in_fmt.width;
	out_fmt->type = VIDEO_BUF_TYPE_OUTPUT;

	return setup_video_transform(transform_dev, in_fmt, out_fmt, out_buf);
}

int app_transform_frame(const struct device *const transform_dev, struct video_buffer *in_buf,
			struct video_buffer **out_buf)
{
	return transform_frame(transform_dev, in_buf, out_buf);
}
```
